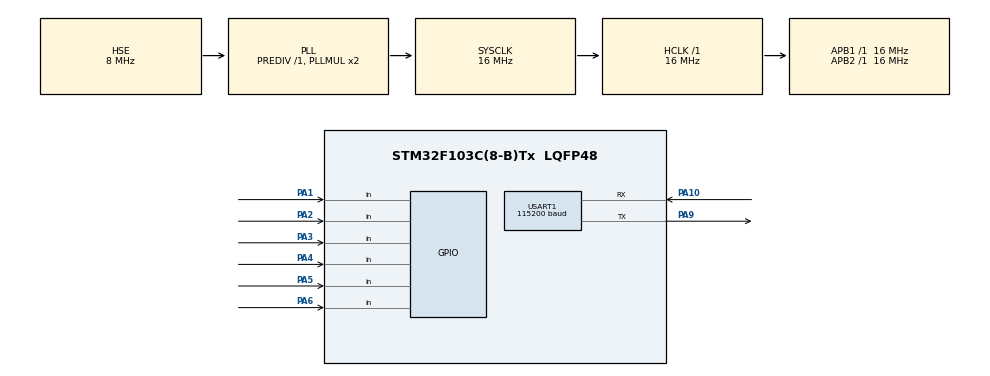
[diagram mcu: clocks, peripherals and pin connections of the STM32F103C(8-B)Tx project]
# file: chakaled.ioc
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FREERTOS.Tasks01=myTask01,24,128,StartDefaultTask,As weak,NULL,Dynamic,NULL,NULL;myTask02,8,128,StartTask02,As weak,NULL,Dynamic,NULL,NULL;myTask03,8,128,StartTask03,As weak,NULL,Dynamic,NULL,NULL;myTask04,8,128,StartTask04,As weak,NULL,Dynamic,NULL,NULL;myTask05,8,128,StartTask05,As weak,NULL,Dynamic,NULL,NULL;myTask06,8,128,StartTask06,As weak,NULL,Dynamic,NULL,NULL;myTask07,8,128,StartTask07,As weak,NULL,Dynamic,NULL,NULL
FREERTOS.configTOTAL_HEAP_SIZE=5072
Mcu.Family=STM32F1
Mcu.Name=STM32F103C(8-B)Tx
Mcu.Package=LQFP48
NVIC.PriorityGroup=NVIC_PRIORITYGROUP_4
PA1.Signal=GPIO_Input
PA10.Mode=Asynchronous
PA10.Signal=USART1_RX
PA13.Mode=Serial_Wire
PA13.Signal=SYS_JTMS-SWDIO
PA14.Mode=Serial_Wire
PA14.Signal=SYS_JTCK-SWCLK
PA2.Signal=GPIO_Input
PA3.Signal=GPIO_Input
PA4.Signal=GPIO_Input
PA5.Signal=GPIO_Input
PA6.Signal=GPIO_Input
PA9.Mode=Asynchronous
PA9.Signal=USART1_TX
PC14-OSC32_IN.Mode=LSE-External-Oscillator
PC14-OSC32_IN.Signal=RCC_OSC32_IN
PC15-OSC32_OUT.Mode=LSE-External-Oscillator
PC15-OSC32_OUT.Signal=RCC_OSC32_OUT
PD0-OSC_IN.Mode=HSE-External-Oscillator
PD0-OSC_IN.Signal=RCC_OSC_IN
PD1-OSC_OUT.Mode=HSE-External-Oscillator
PD1-OSC_OUT.Signal=RCC_OSC_OUT
ProjectManager.HeapSize=0x200
ProjectManager.StackSize=0x400
ProjectManager.TargetToolchain=STM32CubeIDE
RCC.AHBFreq_Value=16000000
RCC.APB1Freq_Value=16000000
RCC.APB1TimFreq_Value=16000000
RCC.APB2Freq_Value=16000000
RCC.APB2TimFreq_Value=16000000
RCC.HCLKFreq_Value=16000000
RCC.PLLSourceVirtual=RCC_PLLSOURCE_HSE
RCC.SYSCLKFreq_VALUE=16000000
RCC.SYSCLKSource=RCC_SYSCLKSOURCE_PLLCLK
RCC.USBFreq_Value=16000000
USART1.BaudRate=115200
USART1.VirtualMode=VM_ASYNC
VP_FREERTOS_VS_CMSIS_V2.Mode=CMSIS_V2
board=custom

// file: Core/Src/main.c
/* USER CODE BEGIN Header */
/**
  ******************************************************************************
  * @file           : main.c
  * @brief          : Main program body
  ******************************************************************************
  * @attention
  *
  * Copyright (c) 2023 STMicroelectronics.
  * All rights reserved.
  *
  * This software is licensed under terms that can be found in the LICENSE file
  * in the root directory of this software component.
  * If no LICENSE file comes with this software, it is provided AS-IS.
  *
  ******************************************************************************
  */
/* USER CODE END Header */
#include "main.h"
#include "cmsis_os.h"
#include "usart.h"
#include "gpio.h"

void SystemClock_Config(void);
void MX_FREERTOS_Init(void);

int main(void)
{

  /* MCU Configuration--------------------------------------------------------*/

  /* Reset of all peripherals, Initializes the Flash interface and the Systick. */
  HAL_Init();

  /* Configure the system clock */
  SystemClock_Config();

  /* Initialize all configured peripherals */
  MX_GPIO_Init();
  MX_USART1_UART_Init();

  /* Init scheduler */
  osKernelInitialize();  /* Call init function for freertos objects (in freertos.c) */
  MX_FREERTOS_Init();

  /* Start scheduler */
  osKernelStart();

  /* We should never get here as control is now taken by the scheduler */
  /* Infinite loop */
  while (1)
  {
	  /*int a = 0;
	  int b = 0;
	  if(HAL_GPIO_ReadPin(GPIOA, GPIO_PIN_1) == SET){
           a++;
	  }else{
		  b++;
	  }
	  if(HAL_GPIO_ReadPin(GPIOA, GPIO_PIN_2) == SET){
		  a++;
	  }else{
		  b++;
	  }
	  if(HAL_GPIO_ReadPin(GPIOA, GPIO_PIN_3) == SET){
		  a++;
	  }else{
		  b++;
	  }
	  if(HAL_GPIO_ReadPin(GPIOA, GPIO_PIN_4) == SET){
		  a++;
	  }else{
		  b++;
	  }
	  if(HAL_GPIO_ReadPin(GPIOA, GPIO_PIN_5) == SET){
		  a++;
	  }else{
		  b++;
	  }
	  if(HAL_GPIO_ReadPin(GPIOA, GPIO_PIN_6) == SET){
		  a++;
	  }else{
		  b++;
	  }*/

  }
}

void SystemClock_Config(void)
{
  RCC_OscInitTypeDef RCC_OscInitStruct = {0};
  RCC_ClkInitTypeDef RCC_ClkInitStruct = {0};

  /** Initializes the RCC Oscillators according to the specified parameters
  * in the RCC_OscInitTypeDef structure.
  */
  RCC_OscInitStruct.OscillatorType = RCC_OSCILLATORTYPE_HSE;
  RCC_OscInitStruct.HSEState = RCC_HSE_ON;
  RCC_OscInitStruct.HSEPredivValue = RCC_HSE_PREDIV_DIV1;
  RCC_OscInitStruct.HSIState = RCC_HSI_ON;
  RCC_OscInitStruct.PLL.PLLState = RCC_PLL_ON;
  RCC_OscInitStruct.PLL.PLLSource = RCC_PLLSOURCE_HSE;
  RCC_OscInitStruct.PLL.PLLMUL = RCC_PLL_MUL2;
  if (HAL_RCC_OscConfig(&RCC_OscInitStruct) != HAL_OK)
  {
    Error_Handler();
  }

  /** Initializes the CPU, AHB and APB buses clocks
  */
  RCC_ClkInitStruct.ClockType = RCC_CLOCKTYPE_HCLK|RCC_CLOCKTYPE_SYSCLK
                              |RCC_CLOCKTYPE_PCLK1|RCC_CLOCKTYPE_PCLK2;
  RCC_ClkInitStruct.SYSCLKSource = RCC_SYSCLKSOURCE_PLLCLK;
  RCC_ClkInitStruct.AHBCLKDivider = RCC_SYSCLK_DIV1;
  RCC_ClkInitStruct.APB1CLKDivider = RCC_HCLK_DIV1;
  RCC_ClkInitStruct.APB2CLKDivider = RCC_HCLK_DIV1;

  if (HAL_RCC_ClockConfig(&RCC_ClkInitStruct, FLASH_LATENCY_0) != HAL_OK)
  {
    Error_Handler();
  }
}

void Error_Handler(void)
{
  __disable_irq();
  while (1)
  {
  }
}

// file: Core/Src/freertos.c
/* USER CODE BEGIN Header */
/**
  ******************************************************************************
  * File Name          : freertos.c
  * Description        : Code for freertos applications
  ******************************************************************************
  * @attention
  *
  * Copyright (c) 2023 STMicroelectronics.
  * All rights reserved.
  *
  * This software is licensed under terms that can be found in the LICENSE file
  * in the root directory of this software component.
  * If no LICENSE file comes with this software, it is provided AS-IS.
  *
  ******************************************************************************
  */
/* USER CODE END Header */

#include "FreeRTOS.h"
#include "task.h"
#include "main.h"
#include "cmsis_os.h"

/* USER CODE BEGIN Includes */
#include "usart.h"
/* USER CODE END Includes */

/* Definitions for myTask01 */
osThreadId_t myTask01Handle;
const osThreadAttr_t myTask01_attributes = {
  .name = "myTask01",
  .stack_size = 128 * 4,
  .priority = (osPriority_t) osPriorityNormal,
};
/* Definitions for myTask02 */
osThreadId_t myTask02Handle;
const osThreadAttr_t myTask02_attributes = {
  .name = "myTask02",
  .stack_size = 128 * 4,
  .priority = (osPriority_t) osPriorityLow,
};
/* Definitions for myTask03 */
osThreadId_t myTask03Handle;
const osThreadAttr_t myTask03_attributes = {
  .name = "myTask03",
  .stack_size = 128 * 4,
  .priority = (osPriority_t) osPriorityLow,
};
/* Definitions for myTask04 */
osThreadId_t myTask04Handle;
const osThreadAttr_t myTask04_attributes = {
  .name = "myTask04",
  .stack_size = 128 * 4,
  .priority = (osPriority_t) osPriorityLow,
};
/* Definitions for myTask05 */
osThreadId_t myTask05Handle;
const osThreadAttr_t myTask05_attributes = {
  .name = "myTask05",
  .stack_size = 128 * 4,
  .priority = (osPriority_t) osPriorityLow,
};
/* Definitions for myTask06 */
osThreadId_t myTask06Handle;
const osThreadAttr_t myTask06_attributes = {
  .name = "myTask06",
  .stack_size = 128 * 4,
  .priority = (osPriority_t) osPriorityLow,
};
/* Definitions for myTask07 */
osThreadId_t myTask07Handle;
const osThreadAttr_t myTask07_attributes = {
  .name = "myTask07",
  .stack_size = 128 * 4,
  .priority = (osPriority_t) osPriorityLow,
};

void StartDefaultTask(void *argument);
void StartTask02(void *argument);
void StartTask03(void *argument);
void StartTask04(void *argument);
void StartTask05(void *argument);
void StartTask06(void *argument);
void StartTask07(void *argument);

void MX_FREERTOS_Init(void); /* (MISRA C 2004 rule 8.1) */

void MX_FREERTOS_Init(void) {

  /* Create the thread(s) */
  /* creation of myTask01 */
  myTask01Handle = osThreadNew(StartDefaultTask, NULL, &myTask01_attributes);

  /* creation of myTask02 */
  myTask02Handle = osThreadNew(StartTask02, NULL, &myTask02_attributes);

  /* creation of myTask03 */
  myTask03Handle = osThreadNew(StartTask03, NULL, &myTask03_attributes);

  /* creation of myTask04 */
  myTask04Handle = osThreadNew(StartTask04, NULL, &myTask04_attributes);

  /* creation of myTask05 */
  myTask05Handle = osThreadNew(StartTask05, NULL, &myTask05_attributes);

  /* creation of myTask06 */
  myTask06Handle = osThreadNew(StartTask06, NULL, &myTask06_attributes);

  /* creation of myTask07 */
  myTask07Handle = osThreadNew(StartTask07, NULL, &myTask07_attributes);

}

__weak void StartDefaultTask(void *argument)
{
  /* USER CODE BEGIN StartDefaultTask */
  /* Infinite loop */
  for(;;)
  {
    osDelay(1);
    if(HAL_GPIO_ReadPin(GPIOA, GPIO_PIN_1) == 1){
  	  uint8_t TxDataon[2]= {0x01, 0x0A};
  	  HAL_UART_Transmit(&huart1,TxDataon,2,10);
  	  HAL_Delay(500);
    }else{
      uint8_t TxDataoff[2]= {0x01, 0x0F};
      HAL_UART_Transmit(&huart1,TxDataoff,2,10);
      HAL_Delay(500);

    }
  }
  /* USER CODE END StartDefaultTask */
}

__weak void StartTask02(void *argument)
{
  /* USER CODE BEGIN StartTask02 */
  /* Infinite loop */
  for(;;)
  {
    osDelay(1);
    if(HAL_GPIO_ReadPin(GPIOA, GPIO_PIN_2) == 1){
  	  uint8_t TxDataon[2]= {0x02, 0x0A};
  	  HAL_UART_Transmit(&huart1,TxDataon,2,10);
  	  HAL_Delay(500);
    }else{
    uint8_t TxDataoff[2]= {0x02, 0x0F};
    HAL_UART_Transmit(&huart1,TxDataoff,2,10);
    HAL_Delay(500);
    }
  }
  /* USER CODE END StartTask02 */
}

__weak void StartTask03(void *argument)
{
  /* USER CODE BEGIN StartTask03 */
  /* Infinite loop */
  for(;;)
  {
    osDelay(1);
    if(HAL_GPIO_ReadPin(GPIOA, GPIO_PIN_3) == 1){
  	  uint8_t TxDataon[2]= {0x03, 0x0A};
  	  HAL_UART_Transmit(&huart1,TxDataon,2,10);
  	  HAL_Delay(500);
    }else{
    uint8_t TxDataoff[2]= {0x03, 0x0F};
    HAL_UART_Transmit(&huart1,TxDataoff,2,10);
    HAL_Delay(500);
    }
  }
  /* USER CODE END StartTask03 */
}

__weak void StartTask04(void *argument)
{
  /* USER CODE BEGIN StartTask04 */
  /* Infinite loop */
  for(;;)
  {
    osDelay(1);
    if(HAL_GPIO_ReadPin(GPIOA, GPIO_PIN_4) == 1){
  	  uint8_t TxDataon[2]= {0x04, 0x0A};
  	  HAL_UART_Transmit(&huart1,TxDataon,2,10);
  	  HAL_Delay(500);
    }else{
    uint8_t TxDataoff[2]= {0x04, 0x0F};
    HAL_UART_Transmit(&huart1,TxDataoff,2,10);
    HAL_Delay(500);
    }
  }
  /* USER CODE END StartTask04 */
}

__weak void StartTask05(void *argument)
{
  /* USER CODE BEGIN StartTask05 */
  /* Infinite loop */
  for(;;)
  {
    osDelay(1);
    if(HAL_GPIO_ReadPin(GPIOA, GPIO_PIN_5) == 1){
  	  uint8_t TxDataon[2]= {0x05, 0x0A};
  	  HAL_UART_Transmit(&huart1,TxDataon,2,10);
  	  HAL_Delay(500);
    }else{
    uint8_t TxDataoff[2]= {0x05, 0x0F};
    HAL_UART_Transmit(&huart1,TxDataoff,2,10);
    HAL_Delay(500);
    }
  }
  /* USER CODE END StartTask05 */
}

__weak void StartTask06(void *argument)
{
  /* USER CODE BEGIN StartTask06 */
  /* Infinite loop */
  for(;;)
  {
    osDelay(1);
    if(HAL_GPIO_ReadPin(GPIOA, GPIO_PIN_6) == 1){
  	  uint8_t TxDataon[2]= {0x06, 0x0A};
  	  HAL_UART_Transmit(&huart1,TxDataon,2,10);
  	  HAL_Delay(500);
    }else{
    uint8_t TxDataoff[2]= {0x06, 0x0F};
    HAL_UART_Transmit(&huart1,TxDataoff,2,10);
    HAL_Delay(500);
    }
  }
  /* USER CODE END StartTask06 */
}

__weak void StartTask07(void *argument)
{
  for(;;)
  {
    osDelay(1);
  }
}
